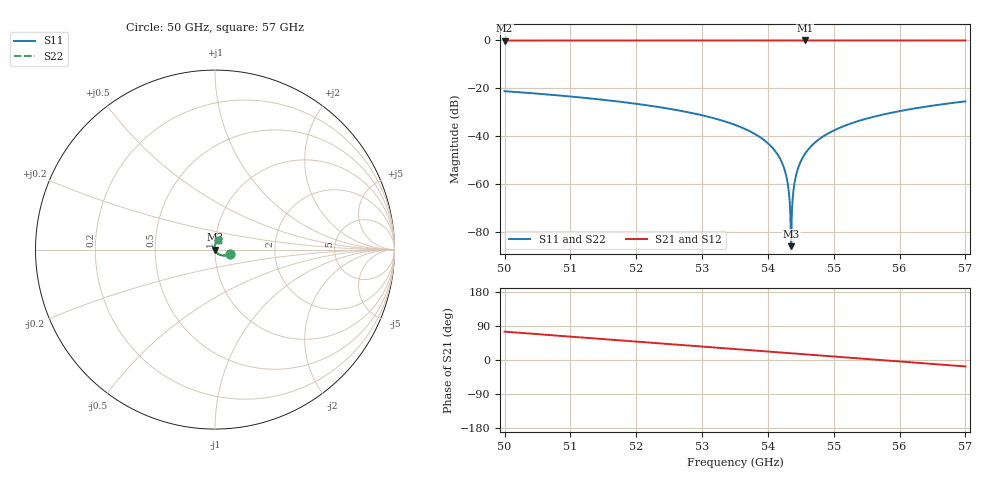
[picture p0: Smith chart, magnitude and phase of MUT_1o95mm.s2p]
! TOUCHSTONE file generated by CST MICROWAVE STUDIO
! Date and time: Fri Feb  2 18:50:58 2024
! Project name: material_prueba.cst
! Header version: 2018
! Port assignment regex: !\s*Touchstone port\s*([0-9]+)\s*=\s*(CST MWS port|CST DS port)\s*([0-9]+|Zmin|Zmax)\s*\(\"(.*)\"\)(\s*mode\s*([0-9]+))?.*
! Touchstone port assignment:
! Touchstone port 1 = CST MWS port 1 ("")
! Touchstone port 2 = CST MWS port 2 ("")
# GHz S MA R 376.7
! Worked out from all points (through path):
!   1001 points, 50 GHz to 57 GHz, reference 376.7 ohm
!   highest |S21| = 0.00 dB at 54.56 GHz (marker M1); lowest = 0.0 dB at 50 GHz (marker M2)
!   group delay of S21, straight-line fit = 36.4 ps
!   lowest |S11| = -85.9 dB at 54.35 GHz (marker M3), VSWR 1.00, Z = 377 + j0.0376 ohm
!   |S11| at or under -10 dB: start of sweep to end of sweep
!   |S22| runs from -87.9 to -21.2 dB; largest |S21 - S12| = 4.1e-05
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50  0.08734 -15.2  0.9962 74.8  0.9962 74.8  0.0874 -15.2
51.169  0.06429 -30.5  0.998 59.5  0.998 59.5  0.06429 -30.5
52.338  0.04081 -45.8  0.9991 44.2  0.9991 44.2  0.04082 -45.8
53.003  0.02738 -54.5  0.9995 35.4  0.9995 35.4  0.02739 -54.5
53.5  0.01731 -60.9  0.9997 28.9  0.9997 28.9  0.01732 -60.9
53.892  0.009348 -66.0  0.9998 23.8  0.9998 23.8  0.009364 -66.0
54.137  0.004369 -69.0  0.9999 20.6  0.9999 20.6  0.004384 -69.0
54.207  0.002946 -69.8  0.9999 19.7  0.9999 19.7  0.00296 -69.8
54.263  0.001807 -70.2  0.9999 18.9  0.9999 18.9  0.001821 -70.2
54.298  0.001095 -70.2  0.9999 18.5  0.9999 18.5  0.001109 -70.2
54.326  0.0005258 -69.1  0.9999 18.1  0.9999 18.1  0.0005393 -69.1
54.354  5.085e-05 78.6  0.9999 17.7  0.9999 17.7  4.018e-05 68.7
54.375  0.0004722 104.5  0.9999 17.5  0.9999 17.5  0.0004593 104.4
54.403  0.001042 105.8  0.9999 17.1  0.9999 17.1  0.001029 105.7
54.438  0.001754 105.9  0.9999 16.6  0.9999 16.6  0.001741 105.9
54.494  0.002893 105.5  0.9999 15.9  0.9999 15.9  0.002881 105.5
54.564  0.004317 104.7  0.9999 15.0  0.9999 15.0  0.004306 104.7
54.669  0.006454 103.5  0.9999 13.6  0.9999 13.6  0.006445 103.4
54.858  0.0103 101.1  0.9999 11.1  0.9999 11.1  0.01029 101.1
55.11  0.01543 97.8  0.9998 7.8  0.9998 7.8  0.01543 97.8
55.838  0.03022 88.3  0.9996 -1.7  0.9996 -1.7  0.03023 88.3
57  0.05353 73.0  0.9986 -17.0  0.9986 -17.0  0.05353 73.0
